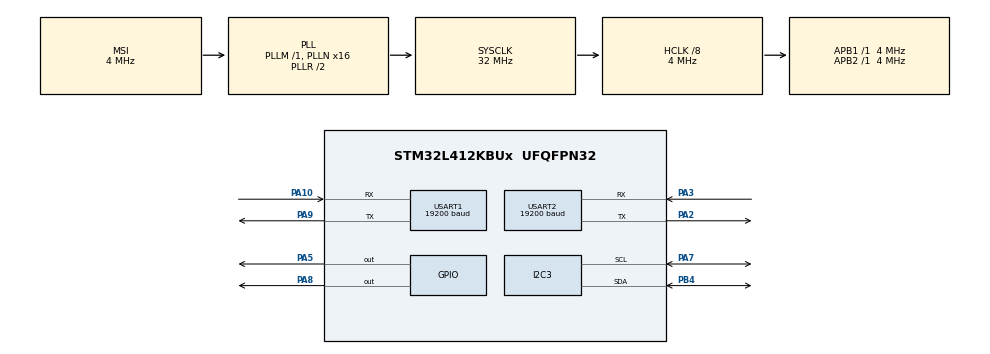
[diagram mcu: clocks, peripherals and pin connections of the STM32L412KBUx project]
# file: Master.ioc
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Dma.Request0=USART1_RX
Dma.USART1_RX.0.Direction=DMA_PERIPH_TO_MEMORY
Dma.USART1_RX.0.Instance=DMA1_Channel5
Dma.USART1_RX.0.MemDataAlignment=DMA_MDATAALIGN_BYTE
Dma.USART1_RX.0.MemInc=DMA_MINC_ENABLE
Dma.USART1_RX.0.Mode=DMA_NORMAL
Dma.USART1_RX.0.PeriphDataAlignment=DMA_PDATAALIGN_BYTE
Dma.USART1_RX.0.PeriphInc=DMA_PINC_DISABLE
Dma.USART1_RX.0.Priority=DMA_PRIORITY_MEDIUM
Mcu.Family=STM32L4
Mcu.Name=STM32L412KBUx
Mcu.Package=UFQFPN32
NVIC.DMA1_Channel5_IRQn=true\:0\:0\:false\:false\:true\:false\:true\:true
NVIC.PriorityGroup=NVIC_PRIORITYGROUP_4
NVIC.USART1_IRQn=true\:0\:0\:false\:false\:true\:true\:true\:true
NVIC.USART2_IRQn=true\:0\:0\:false\:false\:true\:true\:true\:true
PA0-CK_IN.Mode=HSE-External-Clock-Source-for-LittleOrca
PA0-CK_IN.Signal=RCC_CK_IN
PA10.Mode=Asynchronous
PA10.Signal=USART1_RX
PA2.Mode=Asynchronous
PA2.Signal=USART2_TX
PA3.Mode=Asynchronous
PA3.Signal=USART2_RX
PA5.GPIO_Speed=GPIO_SPEED_FREQ_HIGH
PA5.PinState=GPIO_PIN_SET
PA5.Signal=GPIO_Output
PA7.Mode=I2C
PA7.Signal=I2C3_SCL
PA8.Signal=GPIO_Output
PA9.Mode=Asynchronous
PA9.Signal=USART1_TX
PB4\ (NJTRST).Mode=I2C
PB4\ (NJTRST).Signal=I2C3_SDA
PC14-OSC32_IN\ (PC14).Mode=LSE-External-Oscillator
PC14-OSC32_IN\ (PC14).Signal=RCC_OSC32_IN
PC15-OSC32_OUT\ (PC15).Mode=LSE-External-Oscillator
PC15-OSC32_OUT\ (PC15).Signal=RCC_OSC32_OUT
ProjectManager.HeapSize=0x200
ProjectManager.StackSize=0x400
ProjectManager.TargetToolchain=STM32CubeIDE
RCC.ADCFreq_Value=32000000
RCC.AHBCLKDivider=RCC_SYSCLK_DIV8
RCC.AHBFreq_Value=4000000
RCC.APB1Freq_Value=4000000
RCC.APB1TimFreq_Value=4000000
RCC.APB2Freq_Value=4000000
RCC.APB2TimFreq_Value=4000000
RCC.CortexFreq_Value=4000000
RCC.HCLKFreq_Value=4000000
RCC.HSE_VALUE=8000000
RCC.HSI48_VALUE=48000000
RCC.HSI_VALUE=16000000
RCC.MSI_VALUE=4000000
RCC.PLLN=16
RCC.SYSCLKFreq_VALUE=32000000
RCC.SYSCLKSource=RCC_SYSCLKSOURCE_PLLCLK
RCC.USBFreq_Value=4000000
RCC.VCOOutputFreq_Value=64000000
USART1.BaudRate=19200
USART1.VirtualMode-Asynchronous=VM_ASYNC
USART2.BaudRate=19200
USART2.VirtualMode-Asynchronous=VM_ASYNC
VP_RTC_VS_RTC_Activate.Mode=RTC_Enabled
board=custom

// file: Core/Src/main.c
/* USER CODE BEGIN Header */
/**
  ******************************************************************************
  * @file           : main.c
  * @brief          : Main program body
  ******************************************************************************
  * @attention
  *
  * Copyright (c) 2023 STMicroelectronics.
  * All rights reserved.
  *
  * This software is licensed under terms that can be found in the LICENSE file
  * in the root directory of this software component.
  * If no LICENSE file comes with this software, it is provided AS-IS.
  *
  ******************************************************************************
  */
/* USER CODE END Header */
#include "main.h"
//#include "cmsis_os.h"

/* USER CODE BEGIN Includes */
#include "stm32l4xx_hal.h"
#include "stdio.h"
#include "string.h"
/* USER CODE END Includes */

/* USER CODE BEGIN PTD */
int Coordinaat[] = { 0, 0};
int direction[] = {0, 1};
int CoordinaatX[3] ={5,-6,2};
int CoordinaatY[3]= {3,5,-1};
extern UART_HandleTypeDef huart1;
extern volatile uint32_t bufferIndex;
extern char receivedBuffer[100];
extern float receivedTemperature;  // Variable to store the received temperature
uint8_t Rx_data[18];
#define SHT40_MEAS_HIGH_PRECISION 0xFD
#define SHT40_I2C_ADDRESS 0x44 << 1 // SHT40 I2C address
#define SHT40_MEASURE_DELAY_MS 10 // Measurement delay for high precision
#define LTR329_I2C_ADDRESS 0x29 << 1  // Shifted for 8-bit format
#define MAX_BLE_MESSAGE_SIZE 100

/* USER CODE END PTD */

/* USER CODE BEGIN PD */
void myCAllback(UART_HandleTypeDef *huart);

#define LTR329_ALS_CONTR 0x80
#define LTR329_ALS_MEAS_RATE 0x85
#define LTR329_PART_ID 0x86
#define LTR329_MANUFAC_ID 0x87
#define LTR329_ALS_DATA_CH1_0 0x88
#define LTR329_ALS_DATA_CH1_1 0x89
#define LTR329_ALS_DATA_CH0_0 0x8A
#define LTR329_ALS_DATA_CH0_1 0x8B

#define LTR329_ACTIVE_MODE 0x01
#define LTR329_MEAS_RATE 0x03  // Example: 100ms integration time
/* USER CODE END PD */

I2C_HandleTypeDef hi2c3;

RTC_HandleTypeDef hrtc;

UART_HandleTypeDef huart1;
UART_HandleTypeDef huart2;
DMA_HandleTypeDef hdma_usart1_rx;

/* USER CODE BEGIN PV */
volatile uint8_t justWokenUpFromStop2 = 0;

/* USER CODE END PV */

void SystemClock_Config(void);
static void MX_GPIO_Init(void);
static void MX_DMA_Init(void);
static void MX_USART2_UART_Init(void);
static void MX_RTC_Init(void);
static void MX_USART1_UART_Init(void);
static void MX_I2C3_Init(void);
/* USER CODE BEGIN PFP */
void HAL_UART_RxCpltCallback(UART_HandleTypeDef *huart);
void StartDefaultTask(void *argument);

void SendUARTMessage(const char* message) {
  HAL_UART_Transmit(&huart2, (uint8_t*)message, strlen(message), HAL_MAX_DELAY);
}
void BLEUARTMessage(const char* message){
  HAL_UART_Transmit(&huart1, (uint8_t*)message, strlen(message), HAL_MAX_DELAY);
}

void Forward() {
	  HAL_Init();

	char message[100]= {};

    int distance = 10  ;  // Create a character array to hold the message
    int speed =  200;
    // Format the message with the current LED value
    sprintf(message, "drvstr %d %d\r\n", distance, speed);

    // Send the message over UART
    SendUARTMessage(message);

}
void Right(){

	char message[100]= {};

    int angle = 45  ;  // Create a character array to hold the message
    int speed =  200;
    // Format the message with the current LED value
    sprintf(message, "rotctr %d %d\r\n", angle, speed);

    // Send the message over UART
    SendUARTMessage(message);

}
void Left(){

	char message[100]= {};

    int angle = -45  ;  // Create a character array to hold the message
    int speed =  200;
    // Format the message with the current LED value
    sprintf(message, "rotctr %d %d\r\n", angle, speed);

    // Send the message over UART
    SendUARTMessage(message);

}

void Navigation(int destinationX, int destinationY){
	char message[100]= {};
    //sprintf(message, "Inside %u %u\r\n", destinationX, destinationY);

    //SendUARTMessage(message);
	int deltaX = destinationX - Coordinaat[0];
	int deltaY = destinationY - Coordinaat[1];
	while( deltaX != 0){
	if (deltaX > 0){
		if(direction[0] == 0){
			if(direction[1] == 1){
				Right();
				direction[0] = 1;
				direction[1] = 0;
			    //sprintf(message, "0 draai rechts\r\n");

			    // Send the message over UART
			    //SendUARTMessage(message);

			}else {
				Left();
				direction[0] = 1;
				direction[1] = 0;
			    //sprintf(message, "0 draai links\r\n");

			    // Send the message over UART
			    //SendUARTMessage(message);
			}

		}else{
			if(direction[1] ==-1 ){
				Left();
				Left();
				direction[0] = 1;
				direction[1] = 0;
			    //sprintf(message, "0 2x links\r\n");

			    // Send the message over UART
			    //SendUARTMessage(message);
			}
		}
	}
	else if (deltaX < 0){
		if(direction[0] == 0){
			if(direction[1] == 1){
				Left();
				direction[0] = -1;
				direction[1] = 0;
			    //sprintf(message, "1 draai links\r\n");
			    //SendUARTMessage(message);

			}else {
				Right();
				direction[0] = -1;
				direction[1] = 0;
			    //sprintf(message, "1 draai rechts\r\n");
			    //SendUARTMessage(message);

			}

		}else{
			if(direction[1] ==1 ){
				Left();
				Left();
				direction[0] = -1;
				direction[1] = 0;
			    //sprintf(message, "1 2xlinks\r\n");
			    //SendUARTMessage(message);

			}
		}
	}

	for(int i = 0; i < abs(deltaX); i++){
		Forward();
		Coordinaat[0] += direction[0];
	    //sprintf(message, "forward X %d %d\r\n", Coordinaat[0], Coordinaat[1]);

	    // Send the message over UART
	    //SendUARTMessage(message);
	}

	deltaX = destinationX - Coordinaat[0];
	}
	while(deltaY != 0){
		if(deltaY > 0){
			if (direction[0] == 1){
				Left();
				direction[0] = 0;
				direction[1] = 1;
				//sprintf(message, "Y draai links\r\n");
				//SendUARTMessage(message);

			} else if (direction[0] == -1){
				Right();
				direction[0] = 0;
				direction[1] = 1;
				//sprintf(message, "Y draai rechts\r\n");
				//SendUARTMessage(message);

			}else{
				if (direction[1] == -1){
					Right();
					Right();
					direction[0] = 0;
					direction[1] = 1;
					//sprintf(message, "Y 2xrechts\r\n");
					//SendUARTMessage(message);
				}
			}

		}
		if(deltaY < 0){
			if (direction[0] == 1){
				Right();
				direction[0] = 0;
				direction[1] = -1;
				//sprintf(message, "Y draai links\r\n");
				//SendUARTMessage(message);

			} else if (direction[0] == -1){
				Left();
				direction[0] = 0;
				direction[1] = -1;
				//sprintf(message, "Y draai rechts\r\n");
				//SendUARTMessage(message);

			}else{
				if (direction[1] == 1){
					Right();
					Right();
					direction[0] = 0;
					direction[1] = -1;
					//sprintf(message, "Y 2xrechts\r\n");
					//SendUARTMessage(message);
				}
			}

		}
		for(int i = 0; i < abs(deltaY); i++){
			Forward();
			Coordinaat[1] += direction[1];
			//sprintf(message, "forward Y %d %d\r\n", Coordinaat[0], Coordinaat[1]);

			// Send the message over UART
			//SendUARTMessage(message);
		}
		deltaY = destinationY - Coordinaat[1];

	}
}
void SHT40_Init()
{
	HAL_I2C_Init(&hi2c3); // Initialize and configure the I2C peripheral
}
void SHT40_Read(float *t, float *rh, uint8_t mode)
{
	uint8_t data[2] = {mode, 0x00};
	uint8_t buffer[6];

    HAL_I2C_Master_Transmit(&hi2c3, SHT40_I2C_ADDRESS, data, 2, HAL_MAX_DELAY);
    HAL_Delay(10);
    HAL_I2C_Master_Receive(&hi2c3, SHT40_I2C_ADDRESS, buffer, 6, HAL_MAX_DELAY);

    uint16_t t_ticks = buffer[0]*256 + buffer[1];
    uint16_t checksum_t = buffer[2];
    uint16_t rh_ticks = buffer[3]*256 + buffer[4];
    uint16_t checksum_rh = buffer[5];

    float t_degC = -45 + 175.0 * t_ticks/65535;
    float rh_pRH = -6 + 125.0 * rh_ticks/65535;

    if (rh_pRH > 100){
    	rh_pRH = 100; }
    if (rh_pRH < 0){
    	rh_pRH = 0; }

    *t = t_degC;
    *rh = rh_pRH;
}

void LTR329_Init()
{
    uint8_t data;

    // Activate the sensor
    data = LTR329_ACTIVE_MODE;
    HAL_I2C_Mem_Write(&hi2c3, LTR329_I2C_ADDRESS, LTR329_ALS_CONTR, I2C_MEMADD_SIZE_8BIT, &data, 1, 100);
    // Set measurement rate
    data = LTR329_MEAS_RATE;
    HAL_I2C_Mem_Write(&hi2c3, LTR329_I2C_ADDRESS, LTR329_ALS_MEAS_RATE, I2C_MEMADD_SIZE_8BIT, &data, 1, 100);
}
void LTR329_Read_Light(uint16_t *ch0, uint16_t *ch1)
{
    uint8_t data[4];

    // Read 4 bytes of data starting from LTR329_ALS_DATA_CH1_0
    HAL_I2C_Mem_Read(&hi2c3, LTR329_I2C_ADDRESS, LTR329_ALS_DATA_CH1_0, I2C_MEMADD_SIZE_8BIT, data, 4, 100);

    // Combine bytes to get the light data for each channel
    *ch1 = (uint16_t)(data[1] << 8) | data[0];
    *ch0 = (uint16_t)(data[3] << 8) | data[2];
}

/* USER CODE END PFP */

/* USER CODE BEGIN 0 */
void HAL_UART_RxCplCallback(UART_HandleTypeDef *huart){
    char message[] = "Received data from BLE module!\n";
    HAL_UART_Transmit(&huart2, (uint8_t*)message, strlen(message), HAL_MAX_DELAY);

    // Restart reception for continuous data reception
    HAL_UART_Receive_IT(&huart1, Rx_data, sizeof(Rx_data));
}

/* USER CODE END 0 */

int main(void)
{
  /* USER CODE BEGIN 1 */

	  MX_GPIO_Init();
	  MX_USART2_UART_Init();
	  float t,rh;
	  uint16_t light_ch0, light_ch1;
	  char buffer[50];  // A buffer for formatting the data

  /* USER CODE END 1 */

  /* MCU Configuration--------------------------------------------------------*/

  /* Reset of all peripherals, Initializes the Flash interface and the Systick. */
  //HAL_Init();

  /* USER CODE BEGIN Init */
	  HAL_Init();

	  SystemClock_Config();  /* USER CODE END Init */

  /* Configure the system clock */
  //SystemClock_Config();

  /* Initialize all configured peripherals */
  MX_GPIO_Init();
  MX_DMA_Init();
  MX_USART2_UART_Init();
  MX_RTC_Init();
  MX_USART1_UART_Init();
  MX_I2C3_Init();
  /* USER CODE BEGIN 2 */
  /* Enable USART1 interrupt */
  //__enable_irq();
  //HAL_NVIC_SetPriority(USART1_IRQn, 1, 0);
  //HAL_NVIC_EnableIRQ(USART1_IRQn);
  HAL_UART_Receive_IT(&huart1, Rx_data, 18);
  LTR329_Init();
  HAL_GPIO_WritePin(GPIOA, GPIO_PIN_8, GPIO_PIN_RESET);
  char message[100]= {};

  /* USER CODE END 2 */

  /* Infinite loop */
  while (1)
  {

    /* USER CODE BEGIN 3 */

	for(int j = 0; j<3; j++){
	//interrupt for rover
	//HAL_GPIO_WritePin(GPIOA, GPIO_PIN_8, GPIO_PIN_SET);
	//HAL_GPIO_WritePin(GPIOA, GPIO_PIN_8, GPIO_PIN_RESET);
	//HAL_Delay(5);

    Navigation(CoordinaatX[j], CoordinaatY[j]);
	//SendUARTMessage("sleep");
  	char message[100];

	  for(int i = 0; i <3; i++){
	  SHT40_Read(&t, &rh, SHT40_MEAS_HIGH_PRECISION);
	  LTR329_Read_Light(&light_ch0, &light_ch1);
      HAL_Delay(10000);  // Delay for a second

      //SLEEPmode
     //HAL_SuspendTick();
     //HAL_RTCEx_SetWakeUpTimer_IT(&hrtc, 0x4E20, RTC_WAKEUPCLOCK_RTCCLK_DIV16, RTC_WAKEUPCLOCK_RTCCLK_DIV16); // value is 2000 decimal to hexa AND 2000 = ((32000/16)*10sec)
     // Enter STOP 2 mode
     //HAL_PWREx_EnterSTOP2Mode(PWR_STOPENTRY_WFI); // entering stop 2 mode
     //HAL_RTCEx_DeactivateWakeUpTimer(&hrtc);     // deactivating wake-up timer
	 //SystemClock_Config();
	 //HAL_ResumeTick();

      //VisibleLight[i] = light_ch0;
      //Ir[i] = light_ch1;
	  sprintf(message,"[%0.2f; %0.2f; %u; %u]\n ",t,rh, light_ch0, light_ch1);

	  BLEUARTMessage(message);
	  SendUARTMessage(message);
	  memset(message, 0, sizeof(message));

	  }

  }
  }
  /* USER CODE END 3 */
}

void SystemClock_Config(void)
{
  RCC_OscInitTypeDef RCC_OscInitStruct = {0};
  RCC_ClkInitTypeDef RCC_ClkInitStruct = {0};

  /** Configure the main internal regulator output voltage
  */
  if (HAL_PWREx_ControlVoltageScaling(PWR_REGULATOR_VOLTAGE_SCALE1) != HAL_OK)
  {
    Error_Handler();
  }

  /** Configure LSE Drive Capability
  */
  HAL_PWR_EnableBkUpAccess();
  __HAL_RCC_LSEDRIVE_CONFIG(RCC_LSEDRIVE_LOW);

  /** Initializes the RCC Oscillators according to the specified parameters
  * in the RCC_OscInitTypeDef structure.
  */
  RCC_OscInitStruct.OscillatorType = RCC_OSCILLATORTYPE_LSI|RCC_OSCILLATORTYPE_LSE
                              |RCC_OSCILLATORTYPE_MSI;
  RCC_OscInitStruct.LSEState = RCC_LSE_ON;
  RCC_OscInitStruct.LSIState = RCC_LSI_ON;
  RCC_OscInitStruct.MSIState = RCC_MSI_ON;
  RCC_OscInitStruct.MSICalibrationValue = 0;
  RCC_OscInitStruct.MSIClockRange = RCC_MSIRANGE_6;
  RCC_OscInitStruct.PLL.PLLState = RCC_PLL_ON;
  RCC_OscInitStruct.PLL.PLLSource = RCC_PLLSOURCE_MSI;
  RCC_OscInitStruct.PLL.PLLM = 1;
  RCC_OscInitStruct.PLL.PLLN = 16;
  RCC_OscInitStruct.PLL.PLLQ = RCC_PLLQ_DIV2;
  RCC_OscInitStruct.PLL.PLLR = RCC_PLLR_DIV2;
  if (HAL_RCC_OscConfig(&RCC_OscInitStruct) != HAL_OK)
  {
    Error_Handler();
  }

  /** Initializes the CPU, AHB and APB buses clocks
  */
  RCC_ClkInitStruct.ClockType = RCC_CLOCKTYPE_HCLK|RCC_CLOCKTYPE_SYSCLK
                              |RCC_CLOCKTYPE_PCLK1|RCC_CLOCKTYPE_PCLK2;
  RCC_ClkInitStruct.SYSCLKSource = RCC_SYSCLKSOURCE_PLLCLK;
  RCC_ClkInitStruct.AHBCLKDivider = RCC_SYSCLK_DIV8;
  RCC_ClkInitStruct.APB1CLKDivider = RCC_HCLK_DIV1;
  RCC_ClkInitStruct.APB2CLKDivider = RCC_HCLK_DIV1;

  if (HAL_RCC_ClockConfig(&RCC_ClkInitStruct, FLASH_LATENCY_0) != HAL_OK)
  {
    Error_Handler();
  }

  /** Enable MSI Auto calibration
  */
  HAL_RCCEx_EnableMSIPLLMode();
}

static void MX_I2C3_Init(void)
{

  hi2c3.Instance = I2C3;
  hi2c3.Init.Timing = 0x00000E14;
  hi2c3.Init.OwnAddress1 = 0;
  hi2c3.Init.AddressingMode = I2C_ADDRESSINGMODE_7BIT;
  hi2c3.Init.DualAddressMode = I2C_DUALADDRESS_DISABLE;
  hi2c3.Init.OwnAddress2 = 0;
  hi2c3.Init.OwnAddress2Masks = I2C_OA2_NOMASK;
  hi2c3.Init.GeneralCallMode = I2C_GENERALCALL_DISABLE;
  hi2c3.Init.NoStretchMode = I2C_NOSTRETCH_DISABLE;
  if (HAL_I2C_Init(&hi2c3) != HAL_OK)
  {
    Error_Handler();
  }

  /** Configure Analogue filter
  */
  if (HAL_I2CEx_ConfigAnalogFilter(&hi2c3, I2C_ANALOGFILTER_ENABLE) != HAL_OK)
  {
    Error_Handler();
  }

  /** Configure Digital filter
  */
  if (HAL_I2CEx_ConfigDigitalFilter(&hi2c3, 0) != HAL_OK)
  {
    Error_Handler();
  }

}

static void MX_RTC_Init(void)
{

  /** Initialize RTC Only
  */
  hrtc.Instance = RTC;
  hrtc.Init.HourFormat = RTC_HOURFORMAT_24;
  hrtc.Init.AsynchPrediv = 127;
  hrtc.Init.SynchPrediv = 255;
  hrtc.Init.OutPut = RTC_OUTPUT_DISABLE;
  hrtc.Init.OutPutRemap = RTC_OUTPUT_REMAP_NONE;
  hrtc.Init.OutPutPolarity = RTC_OUTPUT_POLARITY_HIGH;
  hrtc.Init.OutPutType = RTC_OUTPUT_TYPE_OPENDRAIN;
  hrtc.Init.OutPutPullUp = RTC_OUTPUT_PULLUP_NONE;
  if (HAL_RTC_Init(&hrtc) != HAL_OK)
  {
    Error_Handler();
  }

}

static void MX_USART1_UART_Init(void)
{

  huart1.Instance = USART1;
  huart1.Init.BaudRate = 19200;
  huart1.Init.WordLength = UART_WORDLENGTH_8B;
  huart1.Init.StopBits = UART_STOPBITS_1;
  huart1.Init.Parity = UART_PARITY_NONE;
  huart1.Init.Mode = UART_MODE_TX_RX;
  huart1.Init.HwFlowCtl = UART_HWCONTROL_NONE;
  huart1.Init.OverSampling = UART_OVERSAMPLING_16;
  huart1.Init.OneBitSampling = UART_ONE_BIT_SAMPLE_DISABLE;
  huart1.AdvancedInit.AdvFeatureInit = UART_ADVFEATURE_NO_INIT;
  if (HAL_UART_Init(&huart1) != HAL_OK)
  {
    Error_Handler();
  }
  /* USER CODE BEGIN USART1_Init 2 */
  HAL_UART_Receive_IT(&huart1, Rx_data, sizeof(Rx_data));

  /* USER CODE END USART1_Init 2 */

}

static void MX_USART2_UART_Init(void)
{

  huart2.Instance = USART2;
  huart2.Init.BaudRate = 19200;
  huart2.Init.WordLength = UART_WORDLENGTH_8B;
  huart2.Init.StopBits = UART_STOPBITS_1;
  huart2.Init.Parity = UART_PARITY_NONE;
  huart2.Init.Mode = UART_MODE_TX_RX;
  huart2.Init.HwFlowCtl = UART_HWCONTROL_NONE;
  huart2.Init.OverSampling = UART_OVERSAMPLING_16;
  huart2.Init.OneBitSampling = UART_ONE_BIT_SAMPLE_DISABLE;
  huart2.AdvancedInit.AdvFeatureInit = UART_ADVFEATURE_NO_INIT;
  if (HAL_UART_Init(&huart2) != HAL_OK)
  {
    Error_Handler();
  }

}

static void MX_DMA_Init(void)
{

  /* DMA controller clock enable */
  __HAL_RCC_DMA1_CLK_ENABLE();

  /* DMA interrupt init */
  /* DMA1_Channel5_IRQn interrupt configuration */
  HAL_NVIC_SetPriority(DMA1_Channel5_IRQn, 0, 0);
  HAL_NVIC_EnableIRQ(DMA1_Channel5_IRQn);

}

static void MX_GPIO_Init(void)
{
  GPIO_InitTypeDef GPIO_InitStruct = {0};

  /* GPIO Ports Clock Enable */
  __HAL_RCC_GPIOC_CLK_ENABLE();
  __HAL_RCC_GPIOA_CLK_ENABLE();
  __HAL_RCC_GPIOB_CLK_ENABLE();

  /*Configure GPIO pin Output Level */
  HAL_GPIO_WritePin(GPIOA, GPIO_PIN_5, GPIO_PIN_SET);

  /*Configure GPIO pin Output Level */
  HAL_GPIO_WritePin(GPIOA, GPIO_PIN_8, GPIO_PIN_RESET);

  /*Configure GPIO pin : PA5 */
  GPIO_InitStruct.Pin = GPIO_PIN_5;
  GPIO_InitStruct.Mode = GPIO_MODE_OUTPUT_PP;
  GPIO_InitStruct.Pull = GPIO_NOPULL;
  GPIO_InitStruct.Speed = GPIO_SPEED_FREQ_HIGH;
  HAL_GPIO_Init(GPIOA, &GPIO_InitStruct);

  /*Configure GPIO pin : PA8 */
  GPIO_InitStruct.Pin = GPIO_PIN_8;
  GPIO_InitStruct.Mode = GPIO_MODE_OUTPUT_PP;
  GPIO_InitStruct.Pull = GPIO_NOPULL;
  GPIO_InitStruct.Speed = GPIO_SPEED_FREQ_LOW;
  HAL_GPIO_Init(GPIOA, &GPIO_InitStruct);

}

void Error_Handler(void)
{
  __disable_irq();
  while (1)
  {
  }
}
